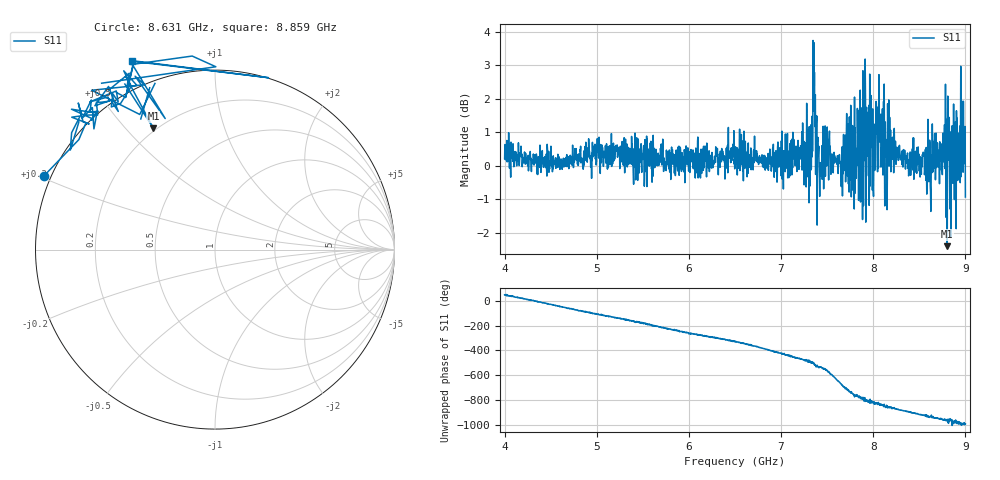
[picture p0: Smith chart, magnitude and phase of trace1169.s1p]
! Created with skrf 1.8.0 (http://scikit-rf.org).
# Hz S RI R 50.0
!freq ReS11 ImS11
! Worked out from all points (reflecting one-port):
!   1601 points, 4 GHz to 9 GHz, reference 50 ohm
!   lowest |S11| = -2.4 dB at 8.803 GHz (marker M1), VSWR 7.27, Z = 9.4 + j29.9 ohm
!   phase of S11 starts at 52 deg and turns -1047 deg over the sweep
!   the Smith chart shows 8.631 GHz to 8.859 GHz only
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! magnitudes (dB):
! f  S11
! 4 GHz  0.2
! 4.625 GHz  -0.1
! 5.25 GHz  -0.1
! 5.875 GHz  0.0
! 6.5 GHz  0.1
! 7.125 GHz  -0.1
! 7.309 GHz  0.6
! 7.347 GHz  3.7
! 7.362 GHz  2.8
! 7.4 GHz  0.8
! 7.428 GHz  -0.3
! 7.509 GHz  0.7
! 7.641 GHz  0.1
! 7.75 GHz  -0.4
! 7.797 GHz  2.0
! 7.853 GHz  0.4
! 7.875 GHz  0.1
! 7.928 GHz  1.7
! 7.944 GHz  1.2
! 8.022 GHz  0.5
! 8.056 GHz  -0.1
! 8.147 GHz  0.7
! 8.375 GHz  0.1
! 8.622 GHz  -0.8
! 8.803 GHz  -2.4
! 8.856 GHz  0.0
! 8.972 GHz  0.2
! 9 GHz  -0.9
